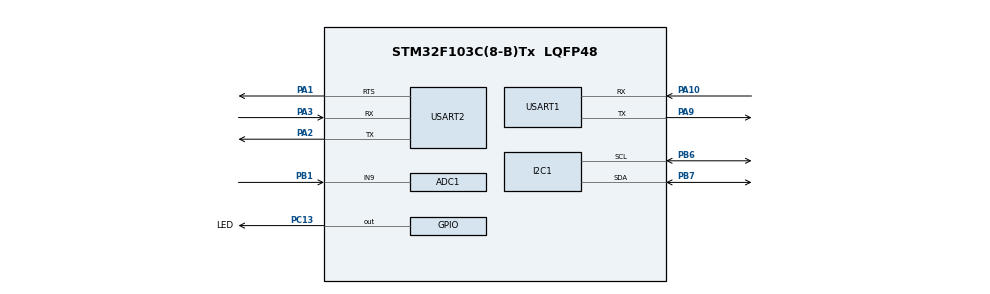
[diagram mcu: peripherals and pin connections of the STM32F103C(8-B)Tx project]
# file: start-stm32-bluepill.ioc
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ADC1.Channel-0\#ChannelRegularConversion=ADC_CHANNEL_9
ADC1.NbrOfConversionFlag=1
ADC1.Rank-0\#ChannelRegularConversion=1
ADC1.SamplingTime-0\#ChannelRegularConversion=ADC_SAMPLETIME_1CYCLE_5
ADC1.master=1
Mcu.Family=STM32F1
Mcu.Name=STM32F103C(8-B)Tx
Mcu.Package=LQFP48
NVIC.PriorityGroup=NVIC_PRIORITYGROUP_4
PA1.Mode=RTS_Only
PA1.Signal=USART2_RTS
PA10.Mode=Asynchronous
PA10.Signal=USART1_RX
PA13.Mode=Serial_Wire
PA13.Signal=SYS_JTMS-SWDIO
PA14.Mode=Serial_Wire
PA14.Signal=SYS_JTCK-SWCLK
PA2.Mode=Asynchronous
PA2.Signal=USART2_TX
PA3.Mode=Asynchronous
PA3.Signal=USART2_RX
PA9.Mode=Asynchronous
PA9.Signal=USART1_TX
PB1.Signal=ADCx_IN9
PB6.Mode=I2C
PB6.Signal=I2C1_SCL
PB7.Mode=I2C
PB7.Signal=I2C1_SDA
PC13-TAMPER-RTC.GPIO_Label=LED
PC13-TAMPER-RTC.PinState=GPIO_PIN_SET
PC13-TAMPER-RTC.Signal=GPIO_Output
ProjectManager.HeapSize=0x200
ProjectManager.StackSize=0x400
ProjectManager.TargetToolchain=Makefile
RCC.APB1Freq_Value=8000000
RCC.APB2Freq_Value=8000000
SH.ADCx_IN9.0=ADC1_IN9,IN9
USART1.VirtualMode=VM_ASYNC
USART2.VirtualMode=VM_ASYNC
board=custom

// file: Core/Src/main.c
/* USER CODE BEGIN Header */
/**
 ******************************************************************************
 * @file           : main.c
 * @brief          : Main program body
 ******************************************************************************
 * @attention
 *
 * Copyright (c) 2023 STMicroelectronics.
 * All rights reserved.
 *
 * This software is licensed under terms that can be found in the LICENSE file
 * in the root directory of this software component.
 * If no LICENSE file comes with this software, it is provided AS-IS.
 *
 ******************************************************************************
 */
/* USER CODE END Header */
#include "main.h"

/* USER CODE BEGIN Includes */
#include <stdio.h>
#include <string.h>
#include <math.h>
/* USER CODE END Includes */

/* USER CODE BEGIN PD */
#define ADXL345_ADDR 0x53 // Accelerometer
/* USER CODE END PD */

ADC_HandleTypeDef hadc1;

I2C_HandleTypeDef hi2c1;

UART_HandleTypeDef huart1;
UART_HandleTypeDef huart2;

/* USER CODE BEGIN PV */
// 1g offset of earth gravitational acceleration
float accel_g_force_offset = 1.0f;
// Threshold for acceleration which indicates a shock or crash
const float shock_threshold = 4.0f;
/* USER CODE END PV */

void SystemClock_Config(void);
static void MX_GPIO_Init(void);
static void MX_ADC1_Init(void);
static void MX_I2C1_Init(void);
static void MX_USART1_UART_Init(void);
static void MX_USART2_UART_Init(void);

/* USER CODE BEGIN PFP */
int _write(int fd, char *ptr, int len)
{
  // Redirect printf() to UART Instance
  HAL_UART_Transmit(&huart1, (uint8_t *)ptr, len, HAL_MAX_DELAY);
  return len;
}
void delay_ms(uint32_t ms);
uint64_t millis(void);
void accel_write_reg(uint8_t addr, uint8_t val);
void accel_read_reg(uint8_t addr, uint8_t *read_buffer, uint8_t read_size);
void accel_init(void);
void accel_get_sensor_data(float *values);
void accel_calibrate_g_force(void);
float accel_get_g_force(void);
/* USER CODE END PFP */

int main(void)
{

  /* MCU Configuration--------------------------------------------------------*/

  /* Reset of all peripherals, Initializes the Flash interface and the Systick. */
  HAL_Init();

  /* Configure the system clock */
  SystemClock_Config();

  /* Initialize all configured peripherals */
  MX_GPIO_Init();
  MX_ADC1_Init();
  MX_I2C1_Init();
  MX_USART1_UART_Init();
  MX_USART2_UART_Init();

  /* USER CODE BEGIN 2 */
  accel_init();
  /* USER CODE END 2 */

  /* Infinite loop */
  /* USER CODE BEGIN WHILE */
  while (1)
  {
    // uint32_t ms = millis();
    // char buffer[128];
    // sprintf(buffer, "Tick Timer: %ld\r\n", ms);
    // // Sending string to UART1
    // HAL_UART_Transmit(&huart1, (uint8_t *)buffer, strlen(buffer), 10);

    float g = accel_get_g_force();
    int q = (int)(g * 10000) / 10000;
    int r = (int)(g * 10000) - q * 10000;
    // printf("G-Force: %.4fg\r\n", g);
    printf("G-Force: %d.%dg\r\n", q, r);

    // // Blink LED_Pin (PC13)
    // HAL_GPIO_WritePin(LED_GPIO_Port, LED_Pin, GPIO_PIN_SET);
    // HAL_Delay(1950);
    // HAL_GPIO_WritePin(LED_GPIO_Port, LED_Pin, GPIO_PIN_RESET);
    // HAL_Delay(50);
    /* USER CODE END WHILE */

  }
}

void SystemClock_Config(void)
{
  RCC_OscInitTypeDef RCC_OscInitStruct = {0};
  RCC_ClkInitTypeDef RCC_ClkInitStruct = {0};
  RCC_PeriphCLKInitTypeDef PeriphClkInit = {0};

  /** Initializes the RCC Oscillators according to the specified parameters
   * in the RCC_OscInitTypeDef structure.
   */
  RCC_OscInitStruct.OscillatorType = RCC_OSCILLATORTYPE_HSI;
  RCC_OscInitStruct.HSIState = RCC_HSI_ON;
  RCC_OscInitStruct.HSICalibrationValue = RCC_HSICALIBRATION_DEFAULT;
  RCC_OscInitStruct.PLL.PLLState = RCC_PLL_NONE;
  if (HAL_RCC_OscConfig(&RCC_OscInitStruct) != HAL_OK)
  {
    Error_Handler();
  }

  /** Initializes the CPU, AHB and APB buses clocks
   */
  RCC_ClkInitStruct.ClockType = RCC_CLOCKTYPE_HCLK | RCC_CLOCKTYPE_SYSCLK | RCC_CLOCKTYPE_PCLK1 | RCC_CLOCKTYPE_PCLK2;
  RCC_ClkInitStruct.SYSCLKSource = RCC_SYSCLKSOURCE_HSI;
  RCC_ClkInitStruct.AHBCLKDivider = RCC_SYSCLK_DIV1;
  RCC_ClkInitStruct.APB1CLKDivider = RCC_HCLK_DIV1;
  RCC_ClkInitStruct.APB2CLKDivider = RCC_HCLK_DIV1;

  if (HAL_RCC_ClockConfig(&RCC_ClkInitStruct, FLASH_LATENCY_0) != HAL_OK)
  {
    Error_Handler();
  }
  PeriphClkInit.PeriphClockSelection = RCC_PERIPHCLK_ADC;
  PeriphClkInit.AdcClockSelection = RCC_ADCPCLK2_DIV2;
  if (HAL_RCCEx_PeriphCLKConfig(&PeriphClkInit) != HAL_OK)
  {
    Error_Handler();
  }
}

static void MX_ADC1_Init(void)
{

  ADC_ChannelConfTypeDef sConfig = {0};

  /** Common config
   */
  hadc1.Instance = ADC1;
  hadc1.Init.ScanConvMode = ADC_SCAN_DISABLE;
  hadc1.Init.ContinuousConvMode = DISABLE;
  hadc1.Init.DiscontinuousConvMode = DISABLE;
  hadc1.Init.ExternalTrigConv = ADC_SOFTWARE_START;
  hadc1.Init.DataAlign = ADC_DATAALIGN_RIGHT;
  hadc1.Init.NbrOfConversion = 1;
  if (HAL_ADC_Init(&hadc1) != HAL_OK)
  {
    Error_Handler();
  }

  /** Configure Regular Channel
   */
  sConfig.Channel = ADC_CHANNEL_9;
  sConfig.Rank = ADC_REGULAR_RANK_1;
  sConfig.SamplingTime = ADC_SAMPLETIME_1CYCLE_5;
  if (HAL_ADC_ConfigChannel(&hadc1, &sConfig) != HAL_OK)
  {
    Error_Handler();
  }
}

static void MX_I2C1_Init(void)
{

  hi2c1.Instance = I2C1;
  hi2c1.Init.ClockSpeed = 100000;
  hi2c1.Init.DutyCycle = I2C_DUTYCYCLE_2;
  hi2c1.Init.OwnAddress1 = 0;
  hi2c1.Init.AddressingMode = I2C_ADDRESSINGMODE_7BIT;
  hi2c1.Init.DualAddressMode = I2C_DUALADDRESS_DISABLE;
  hi2c1.Init.OwnAddress2 = 0;
  hi2c1.Init.GeneralCallMode = I2C_GENERALCALL_DISABLE;
  hi2c1.Init.NoStretchMode = I2C_NOSTRETCH_DISABLE;
  if (HAL_I2C_Init(&hi2c1) != HAL_OK)
  {
    Error_Handler();
  }
}

static void MX_USART1_UART_Init(void)
{

  huart1.Instance = USART1;
  huart1.Init.BaudRate = 115200;
  huart1.Init.WordLength = UART_WORDLENGTH_8B;
  huart1.Init.StopBits = UART_STOPBITS_1;
  huart1.Init.Parity = UART_PARITY_NONE;
  huart1.Init.Mode = UART_MODE_TX_RX;
  huart1.Init.HwFlowCtl = UART_HWCONTROL_NONE;
  huart1.Init.OverSampling = UART_OVERSAMPLING_16;
  if (HAL_UART_Init(&huart1) != HAL_OK)
  {
    Error_Handler();
  }
}

static void MX_USART2_UART_Init(void)
{

  huart2.Instance = USART2;
  huart2.Init.BaudRate = 115200;
  huart2.Init.WordLength = UART_WORDLENGTH_8B;
  huart2.Init.StopBits = UART_STOPBITS_1;
  huart2.Init.Parity = UART_PARITY_NONE;
  huart2.Init.Mode = UART_MODE_TX_RX;
  huart2.Init.HwFlowCtl = UART_HWCONTROL_RTS;
  huart2.Init.OverSampling = UART_OVERSAMPLING_16;
  if (HAL_UART_Init(&huart2) != HAL_OK)
  {
    Error_Handler();
  }
}

static void MX_GPIO_Init(void)
{
  GPIO_InitTypeDef GPIO_InitStruct = {0};

  /* GPIO Ports Clock Enable */
  __HAL_RCC_GPIOC_CLK_ENABLE();
  __HAL_RCC_GPIOA_CLK_ENABLE();
  __HAL_RCC_GPIOB_CLK_ENABLE();

  /*Configure GPIO pin Output Level */
  HAL_GPIO_WritePin(LED_GPIO_Port, LED_Pin, GPIO_PIN_SET);

  /*Configure GPIO pin : LED_Pin */
  GPIO_InitStruct.Pin = LED_Pin;
  GPIO_InitStruct.Mode = GPIO_MODE_OUTPUT_PP;
  GPIO_InitStruct.Pull = GPIO_NOPULL;
  GPIO_InitStruct.Speed = GPIO_SPEED_FREQ_LOW;
  HAL_GPIO_Init(LED_GPIO_Port, &GPIO_InitStruct);
}

/* USER CODE BEGIN 4 */
void delay_ms(uint32_t ms)
{
  HAL_Delay(ms);
}

uint64_t millis(void)
{
  return (uint64_t)HAL_GetTick();
}

void accel_write_reg(uint8_t addr, uint8_t val)
{
  uint8_t slave_addr = ADXL345_ADDR;
  slave_addr <<= 1;
  HAL_I2C_Mem_Write(&hi2c1, slave_addr, addr, I2C_MEMADD_SIZE_8BIT, &val, 1, 100);
}

void accel_read_reg(uint8_t addr, uint8_t *read_buffer, uint8_t read_size)
{
  uint8_t slave_addr = ADXL345_ADDR;
  slave_addr <<= 1;
  HAL_I2C_Mem_Read(&hi2c1, slave_addr, addr, I2C_MEMADD_SIZE_8BIT, read_buffer, read_size, 100);
}

void accel_init(void)
{
  // Access to POWER_CTL register - 0x2D
  // Write 0x08 -> 00001000 ( D3=1 for Measuring mode )
  accel_write_reg(0x2D, 0x08);

  // Access to DATA_FORMAT register - 0x31
  // Write 0x0B -> 00001011 ( Bit D3=1 for FULL_RES, D1,D0=11 for Range -> +-16g )
  accel_write_reg(0x31, 0x0B);

  // Access to BW_RATE register - 0x2C
  // Write 0x09 -> 00001001 ( D3,D2,D1,D0=1001 for { Data Rate -> 50Hz , BW -> 25Hz , IDD -> 45uA } )
  accel_write_reg(0x2C, 0x09);

  delay_ms(10);

  // Update `accel_g_force_offset`
  accel_calibrate_g_force();
}

void accel_get_sensor_data(float *values)
{
  int16_t sensor_data[3];
  uint8_t read_buffer[6];

  // Access to DATA registers - 0x32 ~ 0x37 (6 registers)
  // Read 6 registers total, each axis value is stored in 2 registers
  accel_read_reg(0x32, read_buffer, 6);

  sensor_data[0] = (((int16_t)read_buffer[1]) << 8) | read_buffer[0];
  sensor_data[1] = (((int16_t)read_buffer[3]) << 8) | read_buffer[2];
  sensor_data[2] = (((int16_t)read_buffer[5]) << 8) | read_buffer[4];

  // printf("X: %d, Y: %d, Z: %d", sensor_data[0], sensor_data[1], sensor_data[2]);
  // printf("\r\n");

  // For all g-ranges in full resolution mode, sensitivity is 256
  // All values are in g units
  // To convert them to m/s^2 just multiply them by 9.80665
  values[0] = (float)sensor_data[0] / 256; // X-Axis
  values[1] = (float)sensor_data[1] / 256; // Y-Axis
  values[2] = (float)sensor_data[2] / 256; // Z-Axis
}

void accel_calibrate_g_force(void)
{
  float values[3];
  const uint16_t READINGS_COUNT = 100;
  float values_sum[3] = {0.0f};

  // Read and sum-up readings several times to reduce noise
  for (uint8_t i = 0; i < READINGS_COUNT; i++)
  {
    // Get g-force in all 3-axis
    accel_get_sensor_data(values);

    values_sum[0] += values[0];
    values_sum[1] += values[1];
    values_sum[2] += values[2];
  }
  // Calculate the average of all readings
  values[0] = values_sum[0] / READINGS_COUNT;
  values[1] = values_sum[1] / READINGS_COUNT;
  values[2] = values_sum[2] / READINGS_COUNT;

  // Calculate magnitude of g-force and update offset
  accel_g_force_offset = (float)sqrt(pow(values[0], 2) + pow(values[1], 2) + pow(values[2], 2));

  // printf("Magnitude of acceleration at rest: %.4fg\r\n", accel_g_force_offset);
  int q = (int)(accel_g_force_offset * 10000) / 10000;
  int r = (int)(accel_g_force_offset * 10000) - q * 10000;
  printf("Magnitude of acceleration at rest: %d.%dg\r\n", q, r);
}

float accel_get_g_force(void)
{
  float values[3];
  // Get g-force in all 3-axis
  accel_get_sensor_data(values);
  // Calculate magnitude of g-force (removed 1g offset of earth gravitational acceleration)
  return (float)fabs((float)sqrt(pow(values[0], 2) + pow(values[1], 2) + pow(values[2], 2)) - accel_g_force_offset);
}
/* USER CODE END 4 */

void Error_Handler(void)
{
  __disable_irq();
  while (1)
  {
  }
}
